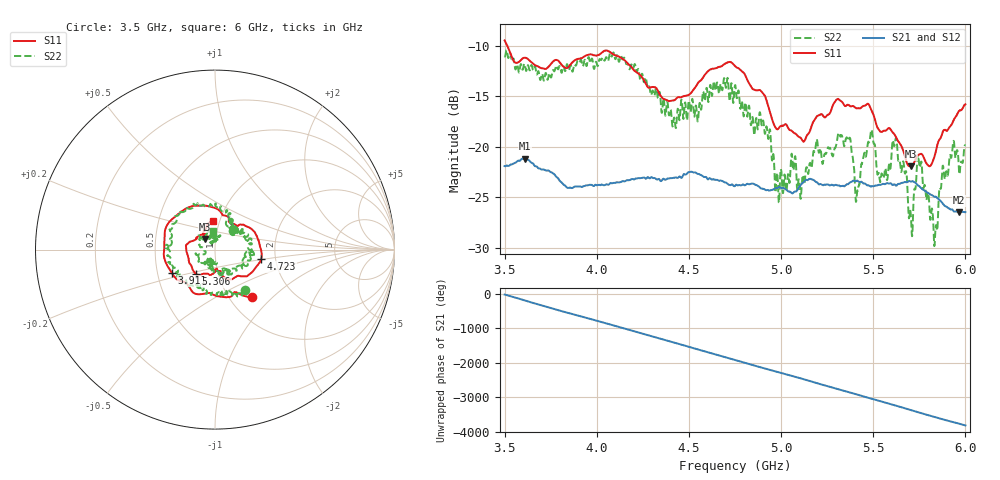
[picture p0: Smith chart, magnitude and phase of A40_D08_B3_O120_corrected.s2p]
! Created with skrf 1.9.0 (http://scikit-rf.org).
# Hz S RI R 50.0
!freq ReS11 ImS11 ReS21 ImS21 ReS12 ImS12 ReS22 ImS22
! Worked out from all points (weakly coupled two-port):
!   1601 points, 3.5 GHz to 6 GHz, reference 50 ohm
!   highest |S21| = -21.15 dB at 3.609 GHz (marker M1); lowest = -26.5 dB at 5.967 GHz (marker M2)
!   lowest |S11| = -21.9 dB at 5.706 GHz (marker M3), VSWR 1.17, Z = 44.6 + j5.3 ohm
!   |S11| at or under -10 dB: 3.515 GHz to end of sweep
!   |S22| runs from -29.8 to -10.4 dB; largest |S21 - S12| = 0.0011
!   S11 on the Smith chart (normalised r, x): 3.5 GHz: 1.27, -0.76; 3.911 GHz: 0.59, -0.17; 4.723 GHz: 1.68, -0.18; 5.306 GHz: 0.78, -0.22; 6 GHz: 0.93, +0.31
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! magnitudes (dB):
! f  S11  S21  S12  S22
! 3.5 GHz  -9.5  -21.9  -21.9  -11.0
! 3.609 GHz  -11.2  -21.2  -21.2  -11.8
! 3.911 GHz  -11.2  -23.9  -23.9  -11.5
! 3.917 GHz  -11.2  -24.0  -24.0  -11.5
! 4.334 GHz  -14.5  -23.2  -23.1  -15.1
! 4.42 GHz  -15.4  -23.1  -23.1  -17.1
! 4.723 GHz  -11.6  -23.8  -23.7  -15.2
! 4.75 GHz  -12.0  -23.9  -23.8  -13.9
! 4.931 GHz  -16.1  -24.3  -24.2  -19.2
! 4.98 GHz  -18.3  -24.1  -24.1  -22.7
! 5.167 GHz  -17.8  -23.2  -23.2  -21.9
! 5.306 GHz  -15.3  -23.8  -23.8  -19.0
! 5.412 GHz  -16.2  -23.3  -23.3  -24.5
! 5.484 GHz  -16.1  -23.9  -23.9  -18.8
! 5.584 GHz  -18.1  -23.6  -23.6  -21.9
! 5.619 GHz  -18.9  -23.7  -23.8  -19.5
! 5.706 GHz  -21.9  -23.4  -23.4  -27.5
! 5.748 GHz  -20.8  -23.9  -23.9  -21.7
! 5.838 GHz  -20.6  -24.9  -24.9  -28.1
! 5.872 GHz  -18.8  -25.5  -25.4  -22.9
! 5.967 GHz  -16.4  -26.5  -26.5  -22.7
! 6 GHz  -15.8  -26.5  -26.4  -19.8
